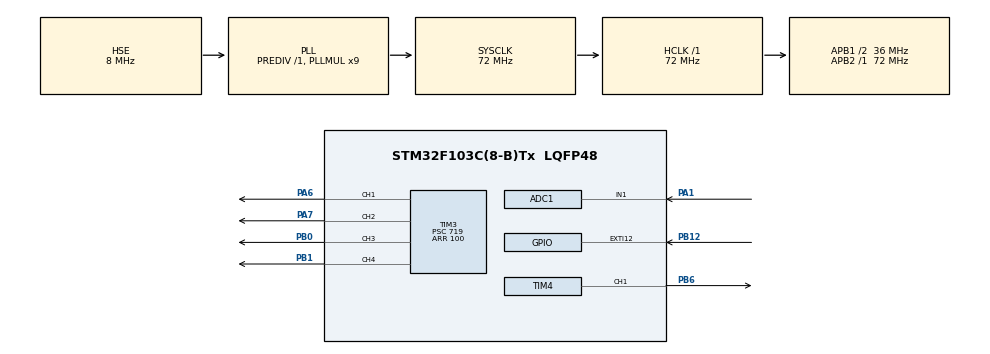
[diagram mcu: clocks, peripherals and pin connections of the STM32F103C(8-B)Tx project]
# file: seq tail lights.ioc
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ADC1.Channel-0\#ChannelRegularConversion=ADC_CHANNEL_1
ADC1.NbrOfConversionFlag=1
ADC1.Rank-0\#ChannelRegularConversion=1
ADC1.SamplingTime-0\#ChannelRegularConversion=ADC_SAMPLETIME_1CYCLE_5
ADC1.master=1
Mcu.Family=STM32F1
Mcu.Name=STM32F103C(8-B)Tx
Mcu.Package=LQFP48
NVIC.EXTI15_10_IRQn=true\:0\:0\:false\:false\:true\:true\:true\:true
NVIC.PriorityGroup=NVIC_PRIORITYGROUP_4
NVIC.TIM2_IRQn=true\:0\:0\:false\:false\:true\:true\:true\:true
PA1.Signal=ADCx_IN1
PA13.Mode=Serial_Wire
PA13.Signal=SYS_JTMS-SWDIO
PA14.Mode=Serial_Wire
PA14.Signal=SYS_JTCK-SWCLK
PA6.Signal=S_TIM3_CH1
PA7.Signal=S_TIM3_CH2
PB0.Signal=S_TIM3_CH3
PB1.Signal=S_TIM3_CH4
PB12.GPIO_ModeDefaultEXTI=GPIO_MODE_IT_FALLING
PB12.GPIO_PuPd=GPIO_PULLUP
PB12.Signal=GPXTI12
PB6.Signal=S_TIM4_CH1
PD0-OSC_IN.Mode=HSE-External-Oscillator
PD0-OSC_IN.Signal=RCC_OSC_IN
PD1-OSC_OUT.Mode=HSE-External-Oscillator
PD1-OSC_OUT.Signal=RCC_OSC_OUT
ProjectManager.HeapSize=0x200
ProjectManager.StackSize=0x400
ProjectManager.TargetToolchain=STM32CubeIDE
RCC.ADCPresc=RCC_ADCPCLK2_DIV6
RCC.AHBFreq_Value=72000000
RCC.APB1CLKDivider=RCC_HCLK_DIV2
RCC.APB1Freq_Value=36000000
RCC.APB1TimFreq_Value=72000000
RCC.APB2Freq_Value=72000000
RCC.APB2TimFreq_Value=72000000
RCC.HCLKFreq_Value=72000000
RCC.PLLMUL=RCC_PLL_MUL9
RCC.PLLSourceVirtual=RCC_PLLSOURCE_HSE
RCC.SYSCLKFreq_VALUE=72000000
RCC.SYSCLKSource=RCC_SYSCLKSOURCE_PLLCLK
RCC.USBFreq_Value=72000000
SH.ADCx_IN1.0=ADC1_IN1,IN1
SH.S_TIM3_CH1.0=TIM3_CH1,PWM Generation1 CH1
SH.S_TIM3_CH2.0=TIM3_CH2,PWM Generation2 CH2
SH.S_TIM3_CH3.0=TIM3_CH3,PWM Generation3 CH3
SH.S_TIM3_CH4.0=TIM3_CH4,PWM Generation4 CH4
SH.S_TIM4_CH1.0=TIM4_CH1,PWM Generation1 CH1
TIM2.AutoReloadPreload=TIM_AUTORELOAD_PRELOAD_ENABLE
TIM2.Period=200
TIM2.Prescaler=7199
TIM3.AutoReloadPreload=TIM_AUTORELOAD_PRELOAD_ENABLE
TIM3.Channel-PWM\ Generation1\ CH1=TIM_CHANNEL_1
TIM3.Channel-PWM\ Generation2\ CH2=TIM_CHANNEL_2
TIM3.Channel-PWM\ Generation3\ CH3=TIM_CHANNEL_3
TIM3.Channel-PWM\ Generation4\ CH4=TIM_CHANNEL_4
TIM3.Period=100
TIM3.Prescaler=719
TIM4.AutoReloadPreload=TIM_AUTORELOAD_PRELOAD_ENABLE
TIM4.Channel-PWM\ Generation1\ CH1=TIM_CHANNEL_1
TIM4.Period=100
TIM4.Prescaler=719
VP_TIM2_VS_ClockSourceINT.Mode=Internal
VP_TIM3_VS_ClockSourceINT.Mode=Internal
VP_TIM4_VS_ClockSourceINT.Mode=Internal
board=custom

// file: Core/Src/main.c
/* USER CODE BEGIN Header */
/**
  ******************************************************************************
  * @file           : main.c
  * @brief          : Main program body
  ******************************************************************************
  * @attention
  *
  * Copyright (c) 2026 STMicroelectronics.
  * All rights reserved.
  *
  * This software is licensed under terms that can be found in the LICENSE file
  * in the root directory of this software component.
  * If no LICENSE file comes with this software, it is provided AS-IS.
  *
  ******************************************************************************
  */
/* USER CODE END Header */
#include "main.h"

/* USER CODE BEGIN Includes */
const uint8_t sweep_frames[9][5] = {
		{100,0,0,0,0},
		{70,100,0,0,0},
		{49,70,100,0,0},
		{34,49,70,100,0},
		{24,34,49,70,100},
		{17,24,34,49,70},
		{12,17,24,34,49},
		{8,12,17,24,34},
		{0,0,0,0,0}
};

const uint8_t hazard_frames[14][5] = {
		{0,0,0,0,0},
		{10,10,10,10,10},
		{30,30,30,30,30},
		{50,50,50,50,50},
		{70,70,70,70,70},
		{90,90,90,90,90},
		{100,100,100,100,100},
		{100,100,100,100,100},
		{90,90,90,90,90},
		{70,70,70,70,70},
		{50,50,50,50,50},
		{30,30,30,30,30},
		{10,10,10,10,10},
		{0,0,0,0,0}
};

volatile uint8_t current_mode = 0;

volatile uint8_t frame_index = 0;

volatile uint32_t last_button_press_time = 0;
/* USER CODE END Includes */

ADC_HandleTypeDef hadc1;

TIM_HandleTypeDef htim2;
TIM_HandleTypeDef htim3;
TIM_HandleTypeDef htim4;

void SystemClock_Config(void);
static void MX_GPIO_Init(void);
static void MX_TIM2_Init(void);
static void MX_TIM3_Init(void);
static void MX_TIM4_Init(void);
static void MX_ADC1_Init(void);
/* USER CODE BEGIN PFP */
void updateLEDFrame(void);
void updateAnimationSpeed(void);
/* USER CODE END PFP */

/* USER CODE BEGIN 0 */
void updateLEDFrame(void){
	if(current_mode == 0){
		__HAL_TIM_SET_COMPARE(&htim3, TIM_CHANNEL_1, hazard_frames[frame_index][0]);
		__HAL_TIM_SET_COMPARE(&htim3, TIM_CHANNEL_2, hazard_frames[frame_index][1]);
		__HAL_TIM_SET_COMPARE(&htim3, TIM_CHANNEL_3, hazard_frames[frame_index][2]);
		__HAL_TIM_SET_COMPARE(&htim3, TIM_CHANNEL_4, hazard_frames[frame_index][3]);
		__HAL_TIM_SET_COMPARE(&htim4, TIM_CHANNEL_1, hazard_frames[frame_index][4]);
	}
	if(current_mode == 2){
		__HAL_TIM_SET_COMPARE(&htim3, TIM_CHANNEL_1, sweep_frames[frame_index][0]);
		__HAL_TIM_SET_COMPARE(&htim3, TIM_CHANNEL_2, sweep_frames[frame_index][1]);
		__HAL_TIM_SET_COMPARE(&htim3, TIM_CHANNEL_3, sweep_frames[frame_index][2]);
		__HAL_TIM_SET_COMPARE(&htim3, TIM_CHANNEL_4, sweep_frames[frame_index][3]);
		__HAL_TIM_SET_COMPARE(&htim4, TIM_CHANNEL_1, sweep_frames[frame_index][4]);
	}
	if(current_mode == 1){
		__HAL_TIM_SET_COMPARE(&htim3, TIM_CHANNEL_1, sweep_frames[frame_index][4]);
		__HAL_TIM_SET_COMPARE(&htim3, TIM_CHANNEL_2, sweep_frames[frame_index][3]);
		__HAL_TIM_SET_COMPARE(&htim3, TIM_CHANNEL_3, sweep_frames[frame_index][2]);
		__HAL_TIM_SET_COMPARE(&htim3, TIM_CHANNEL_4, sweep_frames[frame_index][1]);
		__HAL_TIM_SET_COMPARE(&htim4, TIM_CHANNEL_1, sweep_frames[frame_index][0]);
	}
}

void HAL_TIM_PeriodElapsedCallback(TIM_HandleTypeDef *htim){
	if(htim == &htim2){
		updateLEDFrame();
		frame_index++;
		if(current_mode == 0 && frame_index >= 14){
			frame_index = 0;
		}
		if((current_mode == 1 || current_mode == 2) && frame_index >= 9){
			frame_index = 0;
		}
	}
}

void updateAnimationSpeed(void){
	HAL_ADC_Start(&hadc1);
	HAL_ADC_PollForConversion(&hadc1, 100);
	uint16_t ADC_VAL = HAL_ADC_GetValue(&hadc1);
	uint32_t new_arr = 50 + (ADC_VAL * 10 / 91);
	__HAL_TIM_SET_AUTORELOAD(&htim2, new_arr);
	HAL_ADC_Stop(&hadc1);
}

void HAL_GPIO_EXTI_Callback(uint16_t GPIO_Pin){
	if(GPIO_Pin == GPIO_PIN_12){
		uint32_t current_time = HAL_GetTick();
		if(current_time - last_button_press_time > 200){
			current_mode++;
			if(current_mode > 2){
				current_mode = 0;
			}
			frame_index = 0;
			last_button_press_time = current_time;
		}
	}
}
/* USER CODE END 0 */

int main(void)
{

  /* MCU Configuration--------------------------------------------------------*/

  /* Reset of all peripherals, Initializes the Flash interface and the Systick. */
  HAL_Init();

  /* Configure the system clock */
  SystemClock_Config();

  /* Initialize all configured peripherals */
  MX_GPIO_Init();
  MX_TIM2_Init();
  MX_TIM3_Init();
  MX_TIM4_Init();
  MX_ADC1_Init();
  /* USER CODE BEGIN 2 */
HAL_TIM_PWM_Start(&htim3, TIM_CHANNEL_1);
HAL_TIM_PWM_Start(&htim3, TIM_CHANNEL_2);
HAL_TIM_PWM_Start(&htim3, TIM_CHANNEL_3);
HAL_TIM_PWM_Start(&htim3, TIM_CHANNEL_4);

HAL_TIM_PWM_Start(&htim4, TIM_CHANNEL_1);

HAL_TIM_Base_Start_IT(&htim2);
  /* USER CODE END 2 */

  /* Infinite loop */
  /* USER CODE BEGIN WHILE */
  while (1)
  {
	  updateAnimationSpeed();
    /* USER CODE END WHILE */

  }
}

void SystemClock_Config(void)
{
  RCC_OscInitTypeDef RCC_OscInitStruct = {0};
  RCC_ClkInitTypeDef RCC_ClkInitStruct = {0};
  RCC_PeriphCLKInitTypeDef PeriphClkInit = {0};

  /** Initializes the RCC Oscillators according to the specified parameters
  * in the RCC_OscInitTypeDef structure.
  */
  RCC_OscInitStruct.OscillatorType = RCC_OSCILLATORTYPE_HSE;
  RCC_OscInitStruct.HSEState = RCC_HSE_ON;
  RCC_OscInitStruct.HSEPredivValue = RCC_HSE_PREDIV_DIV1;
  RCC_OscInitStruct.HSIState = RCC_HSI_ON;
  RCC_OscInitStruct.PLL.PLLState = RCC_PLL_ON;
  RCC_OscInitStruct.PLL.PLLSource = RCC_PLLSOURCE_HSE;
  RCC_OscInitStruct.PLL.PLLMUL = RCC_PLL_MUL9;
  if (HAL_RCC_OscConfig(&RCC_OscInitStruct) != HAL_OK)
  {
    Error_Handler();
  }

  /** Initializes the CPU, AHB and APB buses clocks
  */
  RCC_ClkInitStruct.ClockType = RCC_CLOCKTYPE_HCLK|RCC_CLOCKTYPE_SYSCLK
                              |RCC_CLOCKTYPE_PCLK1|RCC_CLOCKTYPE_PCLK2;
  RCC_ClkInitStruct.SYSCLKSource = RCC_SYSCLKSOURCE_PLLCLK;
  RCC_ClkInitStruct.AHBCLKDivider = RCC_SYSCLK_DIV1;
  RCC_ClkInitStruct.APB1CLKDivider = RCC_HCLK_DIV2;
  RCC_ClkInitStruct.APB2CLKDivider = RCC_HCLK_DIV1;

  if (HAL_RCC_ClockConfig(&RCC_ClkInitStruct, FLASH_LATENCY_2) != HAL_OK)
  {
    Error_Handler();
  }
  PeriphClkInit.PeriphClockSelection = RCC_PERIPHCLK_ADC;
  PeriphClkInit.AdcClockSelection = RCC_ADCPCLK2_DIV6;
  if (HAL_RCCEx_PeriphCLKConfig(&PeriphClkInit) != HAL_OK)
  {
    Error_Handler();
  }
}

static void MX_ADC1_Init(void)
{

  ADC_ChannelConfTypeDef sConfig = {0};

  /** Common config
  */
  hadc1.Instance = ADC1;
  hadc1.Init.ScanConvMode = ADC_SCAN_DISABLE;
  hadc1.Init.ContinuousConvMode = DISABLE;
  hadc1.Init.DiscontinuousConvMode = DISABLE;
  hadc1.Init.ExternalTrigConv = ADC_SOFTWARE_START;
  hadc1.Init.DataAlign = ADC_DATAALIGN_RIGHT;
  hadc1.Init.NbrOfConversion = 1;
  if (HAL_ADC_Init(&hadc1) != HAL_OK)
  {
    Error_Handler();
  }

  /** Configure Regular Channel
  */
  sConfig.Channel = ADC_CHANNEL_1;
  sConfig.Rank = ADC_REGULAR_RANK_1;
  sConfig.SamplingTime = ADC_SAMPLETIME_1CYCLE_5;
  if (HAL_ADC_ConfigChannel(&hadc1, &sConfig) != HAL_OK)
  {
    Error_Handler();
  }

}

static void MX_TIM2_Init(void)
{

  TIM_ClockConfigTypeDef sClockSourceConfig = {0};
  TIM_MasterConfigTypeDef sMasterConfig = {0};

  htim2.Instance = TIM2;
  htim2.Init.Prescaler = 7199;
  htim2.Init.CounterMode = TIM_COUNTERMODE_UP;
  htim2.Init.Period = 200;
  htim2.Init.ClockDivision = TIM_CLOCKDIVISION_DIV1;
  htim2.Init.AutoReloadPreload = TIM_AUTORELOAD_PRELOAD_ENABLE;
  if (HAL_TIM_Base_Init(&htim2) != HAL_OK)
  {
    Error_Handler();
  }
  sClockSourceConfig.ClockSource = TIM_CLOCKSOURCE_INTERNAL;
  if (HAL_TIM_ConfigClockSource(&htim2, &sClockSourceConfig) != HAL_OK)
  {
    Error_Handler();
  }
  sMasterConfig.MasterOutputTrigger = TIM_TRGO_RESET;
  sMasterConfig.MasterSlaveMode = TIM_MASTERSLAVEMODE_DISABLE;
  if (HAL_TIMEx_MasterConfigSynchronization(&htim2, &sMasterConfig) != HAL_OK)
  {
    Error_Handler();
  }

}

static void MX_TIM3_Init(void)
{

  TIM_ClockConfigTypeDef sClockSourceConfig = {0};
  TIM_MasterConfigTypeDef sMasterConfig = {0};
  TIM_OC_InitTypeDef sConfigOC = {0};

  htim3.Instance = TIM3;
  htim3.Init.Prescaler = 719;
  htim3.Init.CounterMode = TIM_COUNTERMODE_UP;
  htim3.Init.Period = 100;
  htim3.Init.ClockDivision = TIM_CLOCKDIVISION_DIV1;
  htim3.Init.AutoReloadPreload = TIM_AUTORELOAD_PRELOAD_ENABLE;
  if (HAL_TIM_Base_Init(&htim3) != HAL_OK)
  {
    Error_Handler();
  }
  sClockSourceConfig.ClockSource = TIM_CLOCKSOURCE_INTERNAL;
  if (HAL_TIM_ConfigClockSource(&htim3, &sClockSourceConfig) != HAL_OK)
  {
    Error_Handler();
  }
  if (HAL_TIM_PWM_Init(&htim3) != HAL_OK)
  {
    Error_Handler();
  }
  sMasterConfig.MasterOutputTrigger = TIM_TRGO_RESET;
  sMasterConfig.MasterSlaveMode = TIM_MASTERSLAVEMODE_DISABLE;
  if (HAL_TIMEx_MasterConfigSynchronization(&htim3, &sMasterConfig) != HAL_OK)
  {
    Error_Handler();
  }
  sConfigOC.OCMode = TIM_OCMODE_PWM1;
  sConfigOC.Pulse = 0;
  sConfigOC.OCPolarity = TIM_OCPOLARITY_HIGH;
  sConfigOC.OCFastMode = TIM_OCFAST_DISABLE;
  if (HAL_TIM_PWM_ConfigChannel(&htim3, &sConfigOC, TIM_CHANNEL_1) != HAL_OK)
  {
    Error_Handler();
  }
  if (HAL_TIM_PWM_ConfigChannel(&htim3, &sConfigOC, TIM_CHANNEL_2) != HAL_OK)
  {
    Error_Handler();
  }
  if (HAL_TIM_PWM_ConfigChannel(&htim3, &sConfigOC, TIM_CHANNEL_3) != HAL_OK)
  {
    Error_Handler();
  }
  if (HAL_TIM_PWM_ConfigChannel(&htim3, &sConfigOC, TIM_CHANNEL_4) != HAL_OK)
  {
    Error_Handler();
  }
  HAL_TIM_MspPostInit(&htim3);

}

static void MX_TIM4_Init(void)
{

  TIM_ClockConfigTypeDef sClockSourceConfig = {0};
  TIM_MasterConfigTypeDef sMasterConfig = {0};
  TIM_OC_InitTypeDef sConfigOC = {0};

  htim4.Instance = TIM4;
  htim4.Init.Prescaler = 719;
  htim4.Init.CounterMode = TIM_COUNTERMODE_UP;
  htim4.Init.Period = 100;
  htim4.Init.ClockDivision = TIM_CLOCKDIVISION_DIV1;
  htim4.Init.AutoReloadPreload = TIM_AUTORELOAD_PRELOAD_ENABLE;
  if (HAL_TIM_Base_Init(&htim4) != HAL_OK)
  {
    Error_Handler();
  }
  sClockSourceConfig.ClockSource = TIM_CLOCKSOURCE_INTERNAL;
  if (HAL_TIM_ConfigClockSource(&htim4, &sClockSourceConfig) != HAL_OK)
  {
    Error_Handler();
  }
  if (HAL_TIM_PWM_Init(&htim4) != HAL_OK)
  {
    Error_Handler();
  }
  sMasterConfig.MasterOutputTrigger = TIM_TRGO_RESET;
  sMasterConfig.MasterSlaveMode = TIM_MASTERSLAVEMODE_DISABLE;
  if (HAL_TIMEx_MasterConfigSynchronization(&htim4, &sMasterConfig) != HAL_OK)
  {
    Error_Handler();
  }
  sConfigOC.OCMode = TIM_OCMODE_PWM1;
  sConfigOC.Pulse = 0;
  sConfigOC.OCPolarity = TIM_OCPOLARITY_HIGH;
  sConfigOC.OCFastMode = TIM_OCFAST_DISABLE;
  if (HAL_TIM_PWM_ConfigChannel(&htim4, &sConfigOC, TIM_CHANNEL_1) != HAL_OK)
  {
    Error_Handler();
  }
  HAL_TIM_MspPostInit(&htim4);

}

static void MX_GPIO_Init(void)
{
  GPIO_InitTypeDef GPIO_InitStruct = {0};

  /* GPIO Ports Clock Enable */
  __HAL_RCC_GPIOD_CLK_ENABLE();
  __HAL_RCC_GPIOA_CLK_ENABLE();
  __HAL_RCC_GPIOB_CLK_ENABLE();

  /*Configure GPIO pin : PB12 */
  GPIO_InitStruct.Pin = GPIO_PIN_12;
  GPIO_InitStruct.Mode = GPIO_MODE_IT_FALLING;
  GPIO_InitStruct.Pull = GPIO_PULLUP;
  HAL_GPIO_Init(GPIOB, &GPIO_InitStruct);

  /* EXTI interrupt init*/
  HAL_NVIC_SetPriority(EXTI15_10_IRQn, 0, 0);
  HAL_NVIC_EnableIRQ(EXTI15_10_IRQn);

}

void Error_Handler(void)
{
  __disable_irq();
  while (1)
  {
  }
}
